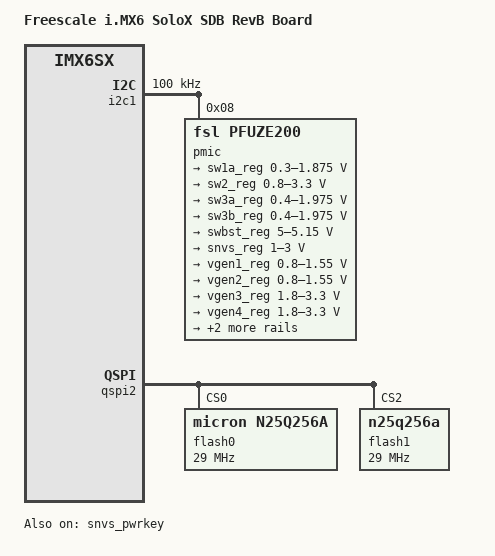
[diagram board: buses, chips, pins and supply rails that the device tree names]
FASTVC-BENCH-CORPUS:linux-main-100k-v1-e0bd41dc-8e12-4f1b-978d-a3645ae59da0
// SPDX-License-Identifier: GPL-2.0
//
// Copyright (C) 2015 Freescale Semiconductor, Inc.

#include "imx6sx-sdb.dtsi"

/ {
	model = "Freescale i.MX6 SoloX SDB RevB Board";
};

&i2c1 {
	clock-frequency = <100000>;
	pinctrl-names = "default";
	pinctrl-0 = <&pinctrl_i2c1>;
	status = "okay";

	pmic: pfuze100@8 {
		compatible = "fsl,pfuze200";
		reg = <0x08>;

		regulators {
			sw1a_reg: sw1ab {
				regulator-min-microvolt = <300000>;
				regulator-max-microvolt = <1875000>;
				regulator-boot-on;
				regulator-always-on;
				regulator-ramp-delay = <6250>;
			};

			sw2_reg: sw2 {
				regulator-min-microvolt = <800000>;
				regulator-max-microvolt = <3300000>;
				regulator-boot-on;
				regulator-always-on;
			};

			sw3a_reg: sw3a {
				regulator-min-microvolt = <400000>;
				regulator-max-microvolt = <1975000>;
				regulator-boot-on;
				regulator-always-on;
			};

			sw3b_reg: sw3b {
				regulator-min-microvolt = <400000>;
				regulator-max-microvolt = <1975000>;
				regulator-boot-on;
				regulator-always-on;
			};

			swbst_reg: swbst {
				regulator-min-microvolt = <5000000>;
				regulator-max-microvolt = <5150000>;
			};

			snvs_reg: vsnvs {
				regulator-min-microvolt = <1000000>;
				regulator-max-microvolt = <3000000>;
				regulator-boot-on;
				regulator-always-on;
			};

			vref_reg: vrefddr {
				regulator-boot-on;
				regulator-always-on;
			};
/* bench 1274.2.0 dcaad06803de */
/* bench 1274.2.1 400ebc5d94a4 */
/* bench 1274.2.2 8258ba9b50d4 */
/* bench 1274.2.3 63546eb93432 */
/* bench 1274.2.4 43474b828573 */
/* bench 1274.2.5 66db6479b209 */
/* bench 1274.2.6 9aef5c77624e */
			vgen1_reg: vgen1 {
				regulator-min-microvolt = <800000>;
				regulator-max-microvolt = <1550000>;
				regulator-always-on;
			};

			vgen2_reg: vgen2 {
				regulator-min-microvolt = <800000>;
				regulator-max-microvolt = <1550000>;
			};

			vgen3_reg: vgen3 {
				regulator-min-microvolt = <1800000>;
				regulator-max-microvolt = <3300000>;
				regulator-always-on;
			};

			vgen4_reg: vgen4 {
				regulator-min-microvolt = <1800000>;
				regulator-max-microvolt = <3300000>;
				regulator-always-on;
			};

			vgen5_reg: vgen5 {
				regulator-min-microvolt = <1800000>;
				regulator-max-microvolt = <3300000>;
				regulator-always-on;
			};

			vgen6_reg: vgen6 {
				regulator-min-microvolt = <1800000>;
				regulator-max-microvolt = <3300000>;
				regulator-always-on;
			};
		};
	};
};

&qspi2 {
	pinctrl-names = "default";
	pinctrl-0 = <&pinctrl_qspi2>;
	status = "okay";

	flash0: n25q256a@0 {
		#address-cells = <1>;
		#size-cells = <1>;
		compatible = "micron,n25q256a", "jedec,spi-nor";
		spi-max-frequency = <29000000>;
		spi-rx-bus-width = <4>;
		spi-tx-bus-width = <4>;
		reg = <0>;
	};

	flash1: n25q256a@2 {
		#address-cells = <1>;
		#size-cells = <1>;
/* bench 3863.0.0 31247e71f1af */
/* bench 3863.0.1 c37e76bc5765 */
/* bench 3863.0.2 217663dc48ae */
/* bench 3863.0.3 51dd844ab09a */
/* bench 3863.0.4 0c90b9d1ed93 */
/* bench 3863.0.5 801bdb94ff65 */
/* bench 3863.0.6 17d16ae8d1ea */
/* bench 3863.0.7 0e67d3d5ba0b */
/* bench 3863.0.8 725e552a7067 */
/* bench 3863.0.9 095c2e98e07b */
/* bench 3863.0.10 b699523cf69b */
		spi-max-frequency = <29000000>;
		spi-rx-bus-width = <4>;
		spi-tx-bus-width = <4>;
		reg = <2>;
	};
};

&reg_arm {
	vin-supply = <&sw1a_reg>;
};

&reg_soc {
	vin-supply = <&sw1a_reg>;
};

&reg_vdd1p1 {
	vin-supply = <&vgen6_reg>;
};

&reg_vdd2p5 {
	vin-supply = <&vgen6_reg>;
};

&reg_can_stby {
	/* Transceiver EN/STBY is active low on RevB board */
	gpio = <&gpio4 27 GPIO_ACTIVE_LOW>;
};

&snvs_pwrkey {
	status = "okay";
};
